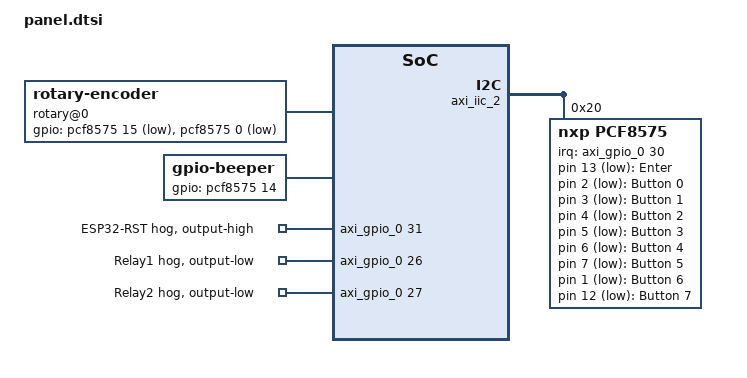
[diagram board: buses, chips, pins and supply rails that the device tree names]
/ {
  rotary@0 {
	  compatible = "rotary-encoder";
	  gpios = <&pcf8575 15 1>, <&pcf8575 0 1>;
	  linux,axis = <0>; /* REL_X */
	  rotary-encoder,encoding = "gray";
	  rotary-encoder,relative-axis;
  };

  beeper: beeper {
    compatible = "gpio-beeper";
    gpios = <&pcf8575 14 0>;
  };
  /* beeper { */
	/*   compatible = "pwm-beeper"; */
	/*   pwms = <&pwm0>; */
	/*   amp-supply = <&beeper_amp>; */
  /* }; */

  panel-keys {
    compatible = "gpio-keys";

    button-enter {
      label = "Enter";
      linux,code = <133>;
      gpios = <&pcf8575 13 1>;
    };

    button-0 {
      label = "Button 0";
      linux,code = <38>;
      gpios = <&pcf8575 2 1>;
    };

    button-1 {
      label = "Button 1";
      linux,code = <39>;
      gpios = <&pcf8575 3 1>;
    };

    button-2 {
      label = "Button 2";
      linux,code = <40>;
      gpios = <&pcf8575 4 1>;
    };

    button-3 {
      label = "Button 3";
      linux,code = <41>;
      gpios = <&pcf8575 5 1>;
    };

    button-4 {
      label = "Button 4";
      linux,code = <42>;
      gpios = <&pcf8575 6 1>;
    };

    button-5 {
      label = "Button 5";
      linux,code = <43>;
      gpios = <&pcf8575 7 1>;
    };

    button-6 {
      label = "Button 6";
      linux,code = <44>;
      gpios = <&pcf8575 1 1>;
    };

    button-7 {
      label = "Button 7";
      linux,code = <45>;
      gpios = <&pcf8575 12 1>;
    };
  };

  reserved-memory {
    #address-cells = <1>;
    #size-cells = <1>;
    ranges;
    // Output frame buffer
    tft_reserved: framebuffer@7C00000 {
      no-map;
      compatible = "removed-dma-pool";
      reg = <0x7C00000 0x400000>;
    };
  };

  chosen {
    #address-cells = <1>;
    #size-cells = <1>;
    ranges;
    tft_fb: framebuffer@7C00000 {           // HDMI out
      compatible = "simple-framebuffer";
      reg = <0x7C00000 (480 * 272 * 2)>;
      width = <480>;
      height = <272>;
      stride = <(480 * 2)>;
      /* format = "a8b8g8r8"; */
      format = "r5g6b5";
      status = "okay";
      memory-region = <&tft_reserved>;
    };
  };
};


&axi_vdma_0 {
    status = "disabled";
};

&axi_iic_2 {
  pcf8575: gpio@20 {
    compatible = "nxp,pcf8575";
    reg = <0x20>;
    interrupt-parent = <&axi_gpio_0>;
    interrupts = <30 0>;
    gpio-controller;
    #gpio-cells = <2>;
    interrupt-controller;
    #interrupt-cells = <2>;
  };

};

// insert gpio hogs for now
&axi_gpio_0 {

  esp-reset-hog {
    gpio-hog;
    gpios = <31 0>;
    output-high;
    line-name = "ESP32-RST";
  };

  relay1-hog {
    gpio-hog;
    gpios = <26 0>;
    output-low;
    line-name = "Relay1";
  };

  relay2-hog {
    gpio-hog;
    gpios = <27 0>;
    output-low;
    line-name = "Relay2";
  };

};
